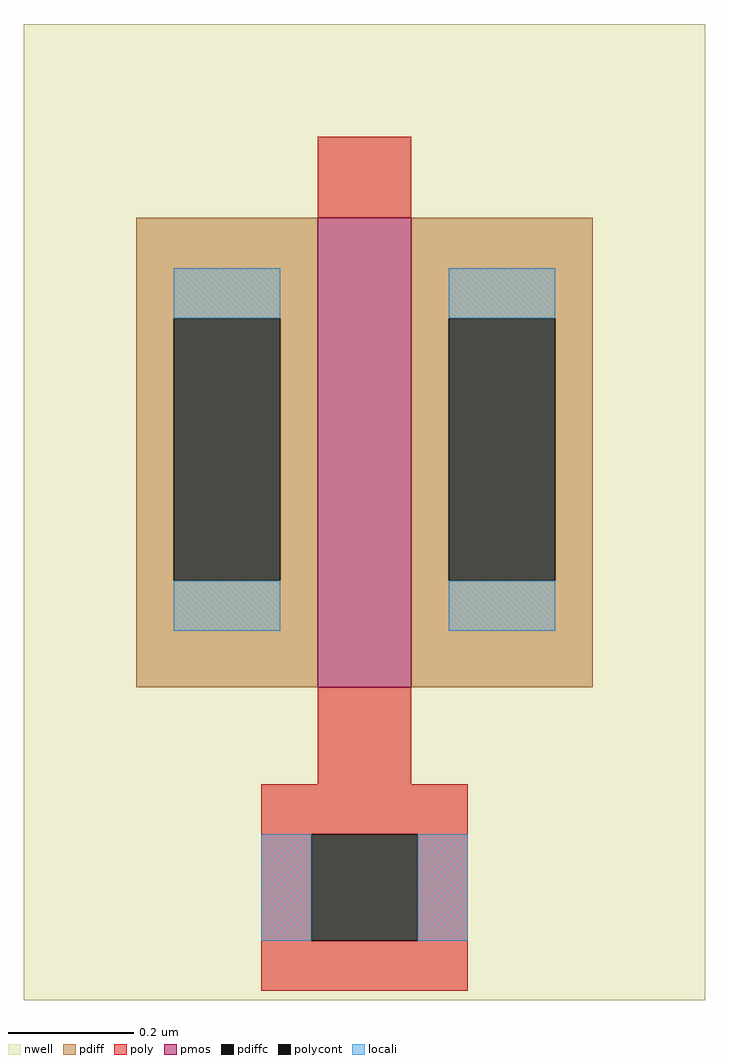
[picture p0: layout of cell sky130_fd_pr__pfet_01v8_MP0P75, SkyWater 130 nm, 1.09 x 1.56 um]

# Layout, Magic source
magic
tech sky130A
magscale 1 2
<< nwell >>
rect -109 -164 109 148
<< pmos >>
rect -15 -64 15 86
<< pdiff >>
rect -73 54 -15 86
rect -73 -30 -61 54
rect -27 -30 -15 54
rect -73 -64 -15 -30
rect 15 54 73 86
rect 15 -30 27 54
rect 61 -30 73 54
rect 15 -64 73 -30
<< pdiffc >>
rect -61 -30 -27 54
rect 27 -30 61 54
<< poly >>
rect -15 86 15 112
rect -15 -95 15 -64
rect -33 -111 33 -95
rect -33 -145 -17 -111
rect 17 -145 33 -111
rect -33 -161 33 -145
<< polycont >>
rect -17 -145 17 -111
<< locali >>
rect -61 54 -27 70
rect -61 -46 -27 -30
rect 27 54 61 70
rect 27 -46 61 -30
rect -33 -145 -17 -111
rect 17 -145 33 -111
<< properties >>
string gencell sky130_fd_pr__pfet_01v8
string library sky130
string parameters w 0.5 l 0.15 m 1 nf 1 diffcov 100 polycov 100 guard 0 glc 0 grc 0 gtc 0 gbc 0 tbcov 100 rlcov 100 topc 0 botc 1 poverlap 0 doverlap 1 lmin 0.15 wmin 0.42 compatible {sky130_fd_pr__pfet_01v8  sky130_fd_pr__pfet_01v8_lvt sky130_fd_pr__pfet_01v8_hvt  sky130_fd_pr__pfet_g5v0d10v5} full_metal 0 viasrc 40 viadrn -40 viagate 100 viagb 0 viagr 0 viagl 0 viagt 80
<< end >>
